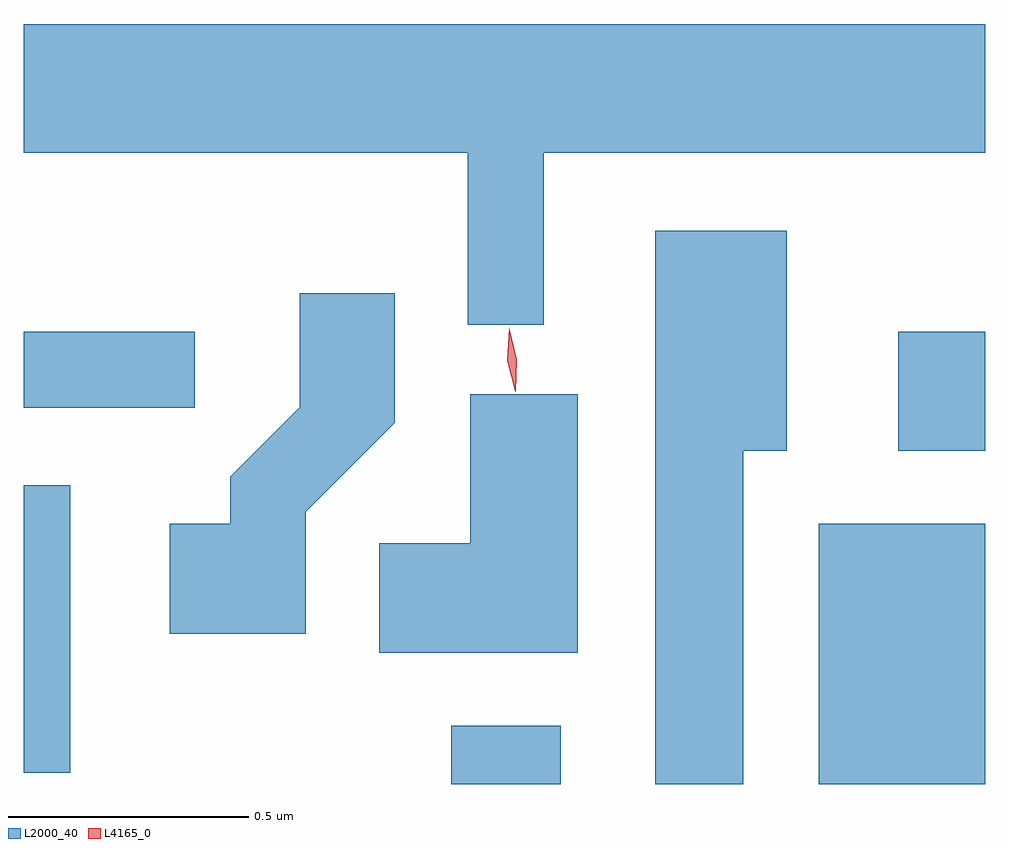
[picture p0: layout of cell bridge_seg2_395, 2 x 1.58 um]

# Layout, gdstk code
import gdstk
lib = gdstk.Library(unit=1e-6, precision=1e-09)
def R(c, l, rs):  # rectangles x0, y0, x1, y1
    for r in rs: c.add(gdstk.rectangle(r[:2], r[2:], *l))
def P(c, l, *ps):  # polygons
    for p in ps: c.add(gdstk.Polygon(p, *l))
L2000_40 = (2000, 40)
L4165_0 = (4165, 0)

bridge_seg2_395 = lib.new_cell('bridge_seg2_395')
R(bridge_seg2_395, L2000_40, [(525.671,995.943,525.899,996.064), (526.436,995.943,526.782,996.484), (524.782,995.966,524.879,996.564), (526.601,996.636,526.782,996.884), (524.782,996.726,525.138,996.884)])
P(bridge_seg2_395, L2000_40, [(525.864,997.256),(526.782,997.256),(526.782,997.524),(524.782,997.524),(524.782,997.256),(525.706,997.256),(525.706,996.898),(525.864,996.898)],
  [(526.279,996.636),(526.369,996.636),(526.369,997.094),(526.096,997.094),(526.096,995.943),(526.279,995.943)],
  [(525.369,996.509),(525.554,996.694),(525.554,996.964),(525.356,996.964),(525.356,996.727),(525.211,996.582),(525.211,996.484),(525.086,996.484),(525.086,996.256),(525.369,996.256)],
  [(525.934,996.754),(525.711,996.754),(525.711,996.444),(525.521,996.444),(525.521,996.216),(525.934,996.216)])
P(bridge_seg2_395, L4165_0, [(525.805,996.759),(525.804,996.76),(525.788,996.825),(525.792,996.891),(525.792,996.892),(525.792,996.891),(525.808,996.826),(525.805,996.76)])

lib.write_gds('bridge_seg2_395.gds')
